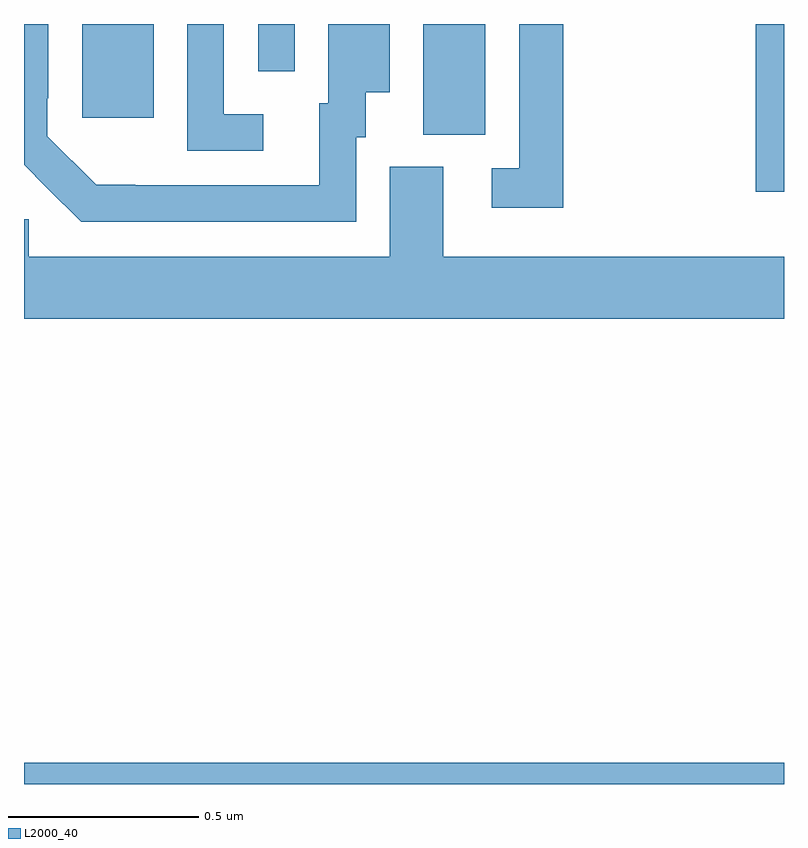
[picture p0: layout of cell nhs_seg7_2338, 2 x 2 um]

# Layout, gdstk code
import gdstk
lib = gdstk.Library(unit=1e-6, precision=1e-09)
def R(c, l, rs):  # rectangles x0, y0, x1, y1
    for r in rs: c.add(gdstk.rectangle(r[:2], r[2:], *l))
def P(c, l, *ps):  # polygons
    for p in ps: c.add(gdstk.Polygon(p, *l))
L2000_40 = (2000, 40)

nhs_seg7_2338 = lib.new_cell('nhs_seg7_2338')
R(nhs_seg7_2338, L2000_40, [(143,1058,145,1058.056), (144.926,1059.558,145,1060), (144.05,1059.709,144.214,1060), (143.153,1059.753,143.341,1060), (143.616,1059.876,143.712,1060)])
P(nhs_seg7_2338, L2000_40, [(143.629,1059.762),(143.526,1059.762),(143.526,1060),(143.43,1060),(143.43,1059.666),(143.629,1059.666)],
  [(143.874,1059.702),(143.899,1059.702),(143.899,1059.821),(143.962,1059.821),(143.962,1060),(143.801,1060),(143.801,1059.792),(143.777,1059.792),(143.777,1059.576),(143.293,1059.576),(143.293,1059.577),(143.19,1059.577),(143.061,1059.705),(143.061,1059.805),(143.064,1059.805),(143.064,1060),(143,1060),(143,1059.629),(143.058,1059.57),(143.059,1059.571),(143.15,1059.48),(143.874,1059.48)],
  [(144.419,1060),(144.303,1060),(144.303,1059.621),(144.231,1059.621),(144.231,1059.516),(144.419,1059.516)],
  [(145,1059.388),(144.103,1059.388),(144.103,1059.624),(143.963,1059.624),(143.963,1059.388),(143.013,1059.388),(143.013,1059.486),(143,1059.486),(143,1059.224),(145,1059.224)])

lib.write_gds('nhs_seg7_2338.gds')
